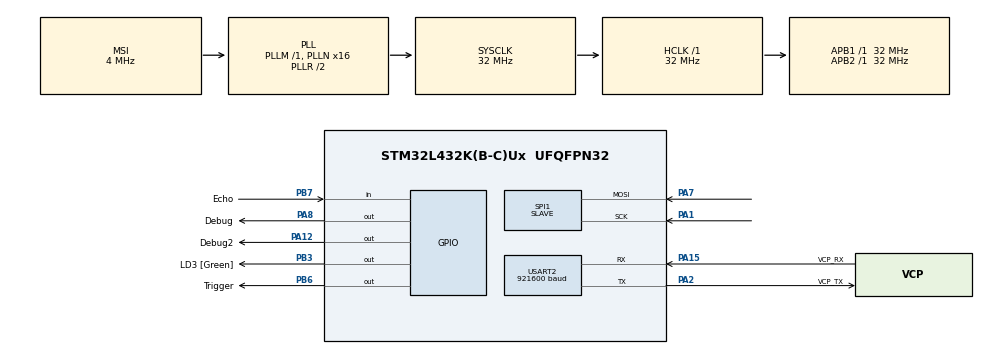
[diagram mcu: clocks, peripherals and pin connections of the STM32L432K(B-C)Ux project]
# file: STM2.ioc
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Dma.Request0=USART2_TX
Dma.USART2_TX.0.Direction=DMA_MEMORY_TO_PERIPH
Dma.USART2_TX.0.Instance=DMA1_Channel7
Dma.USART2_TX.0.MemDataAlignment=DMA_MDATAALIGN_BYTE
Dma.USART2_TX.0.MemInc=DMA_MINC_ENABLE
Dma.USART2_TX.0.Mode=DMA_NORMAL
Dma.USART2_TX.0.PeriphDataAlignment=DMA_PDATAALIGN_BYTE
Dma.USART2_TX.0.PeriphInc=DMA_PINC_DISABLE
Dma.USART2_TX.0.Priority=DMA_PRIORITY_LOW
Mcu.Family=STM32L4
Mcu.Name=STM32L432K(B-C)Ux
Mcu.Package=UFQFPN32
NVIC.DMA1_Channel7_IRQn=true\:0\:0\:false\:false\:true\:false\:true\:true
NVIC.PriorityGroup=NVIC_PRIORITYGROUP_4
NVIC.USART2_IRQn=true\:0\:0\:false\:false\:true\:true\:true\:true
PA0.GPIO_Label=MCO [High speed clock in]
PA0.Mode=HSE-External-Clock-Source-for-LittleOrca
PA0.Signal=RCC_CK_IN
PA1.Mode=RX_Only_Simplex_Unidirect_Slave
PA1.Signal=SPI1_SCK
PA12.GPIO_Label=Debug2
PA12.Signal=GPIO_Output
PA13\ (JTMS-SWDIO).GPIO_Label=SWDIO
PA13\ (JTMS-SWDIO).Mode=Serial_Wire
PA13\ (JTMS-SWDIO).Signal=SYS_JTMS-SWDIO
PA14\ (JTCK-SWCLK).GPIO_Label=SWCLK
PA14\ (JTCK-SWCLK).Mode=Serial_Wire
PA14\ (JTCK-SWCLK).Signal=SYS_JTCK-SWCLK
PA15\ (JTDI).GPIO_Label=VCP_RX
PA15\ (JTDI).Mode=Asynchronous
PA15\ (JTDI).Signal=USART2_RX
PA2.GPIO_Label=VCP_TX
PA2.Mode=Asynchronous
PA2.Signal=USART2_TX
PA7.Mode=RX_Only_Simplex_Unidirect_Slave
PA7.Signal=SPI1_MOSI
PA8.GPIO_Label=Debug
PA8.Signal=GPIO_Output
PB3\ (JTDO-TRACESWO).GPIO_Label=LD3 [Green]
PB3\ (JTDO-TRACESWO).Signal=GPIO_Output
PB6.GPIO_Label=Trigger
PB6.Signal=GPIO_Output
PB7.GPIO_Label=Echo
PB7.Signal=GPIO_Input
PC14-OSC32_IN\ (PC14).Mode=LSE-External-Oscillator
PC14-OSC32_IN\ (PC14).Signal=RCC_OSC32_IN
PC15-OSC32_OUT\ (PC15).Mode=LSE-External-Oscillator
PC15-OSC32_OUT\ (PC15).Signal=RCC_OSC32_OUT
ProjectManager.HeapSize=0x200
ProjectManager.StackSize=0x400
ProjectManager.TargetToolchain=STM32CubeIDE
RCC.AHBFreq_Value=32000000
RCC.APB1Freq_Value=32000000
RCC.APB1TimFreq_Value=32000000
RCC.APB2Freq_Value=32000000
RCC.APB2TimFreq_Value=32000000
RCC.CortexFreq_Value=32000000
RCC.HCLKFreq_Value=32000000
RCC.HSE_VALUE=8000000
RCC.HSI16_VALUE=16000000
RCC.HSI48_VALUE=48000000
RCC.HSI_VALUE=16000000
RCC.MSI_VALUE=4000000
RCC.PLLMUL=RCC_PLLMUL_4
RCC.PLLN=16
RCC.SYSCLKFreq_VALUE=32000000
RCC.SYSCLKSource=RCC_SYSCLKSOURCE_PLLCLK
RCC.VCOOutputFreq_Value=64000000
SPI1.DataSize=SPI_DATASIZE_16BIT
SPI1.Direction=SPI_DIRECTION_2LINES_RXONLY
SPI1.Mode=SPI_MODE_SLAVE
SPI1.VirtualType=VM_SLAVE
TIM16.Prescaler=31
USART2.BaudRate=921600
USART2.VirtualMode-Asynchronous=VM_ASYNC
VP_TIM16_VS_ClockSourceINT.Mode=Enable_Timer
board=NUCLEO-L432KC

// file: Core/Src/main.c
/* USER CODE BEGIN Header */
/**
  ******************************************************************************
  * @file           : main.c
  * @brief          : Main program body
  ******************************************************************************
  * @attention
  *
  * Copyright (c) 2026 STMicroelectronics.
  * All rights reserved.
  *
  * This software is licensed under terms that can be found in the LICENSE file
  * in the root directory of this software component.
  * If no LICENSE file comes with this software, it is provided AS-IS.
  *
  ******************************************************************************
  */
/* USER CODE END Header */
#include "main.h"

/* USER CODE BEGIN Includes */
#include "stdlib.h"
#include "stdio.h"
#include "string.h"
#include "stdbool.h"
#include "math.h"
/* USER CODE END Includes */

/* USER CODE BEGIN PD */
#define N 1 // number of samples to average
#define THRESHOLD 99999 // threshold for the average value
/* USER CODE END PD */

TIM_HandleTypeDef htim16;

UART_HandleTypeDef huart2;
DMA_HandleTypeDef hdma_usart2_tx;

void SystemClock_Config(void);
static void MX_GPIO_Init(void);
static void MX_DMA_Init(void);
static void MX_USART2_UART_Init(void);
static void MX_SPI1_Init(void);
static void MX_TIM16_Init(void);
/* USER CODE BEGIN PFP */
static uint16_t SPI1_Read12Bits(void);
/* USER CODE END PFP */

int main(void)
{

  /* MCU Configuration--------------------------------------------------------*/

  /* Reset of all peripherals, Initializes the Flash interface and the Systick. */
  HAL_Init();

  /* Configure the system clock */
  SystemClock_Config();

  /* Initialize all configured peripherals */
  MX_GPIO_Init();
  MX_DMA_Init();
  MX_USART2_UART_Init();
  MX_SPI1_Init();
  MX_TIM16_Init();
  /* USER CODE BEGIN 2 */
  LL_SPI_Enable(SPI1);

  uint16_t sample12;// 12 bit sample filtered by the moving window from the raw data
  uint16_t buffer[N];
  uint16_t mean; // mean of the sample10 in the last N samples
  uint16_t new_sample; // new sample from the raw data just to filter out the value greater than the threshold
  uint16_t sum;

  uint8_t flag; //control message received from pc
  double divider = 2 * pow(10, 4) / 343;
  float short_time = 10*divider;
  float long_time = 12*divider;
  int echo_time = 0;
  int index = 0;

  //logical flags
  bool manual = true; // True for Manual Mode, False for Distance Mode
  bool process = false; //do we choose to process data?
  bool idle = true; //Is the stm doing nothing (waiting for pc instruction)?

  bool waiting = true; //is the Ultrasonic Sensor in the cooloff period between readings?
  bool triggered = false; //Is the trigger pin high?
  bool echoed = false; //Is the echo pin high?
  /* USER CODE END 2 */

  /* Infinite loop */
  /* USER CODE BEGIN WHILE */
  HAL_TIM_Base_Start(&htim16);
  sample12 = SPI1_Read12Bits();
  // fill the buffer with the first N samples
  sum = 0;
  for(int i = 0; i < N; i++) {
      buffer[i] = sample12;
      sum = sum + sample12;
      //initialise the buffer to provide the initial sum for the mean calculation, so we fill the buffer with the first N samples with the sample10 value
  }
  while (1)
  {
		sample12 = SPI1_Read12Bits();
//	    char debug_msg[100];
//		sprintf(debug_msg,"%d\r\n",sample12);
//		HAL_UART_Transmit_DMA(&huart2,(uint8_t *)debug_msg,8);
//		continue;

//		state logic
	  //check for instruction from pc
		if (HAL_UART_Receive(&huart2, &flag, 1, 0) == HAL_OK){
			if (flag == (uint8_t)'m'){
				idle = false;
				manual = true;
			} else if (flag == (uint8_t)'d'){
				idle = false;
				manual = false;
			} else if (flag == (uint8_t)'i'){
				idle = true;
			}
		}

		if (idle){
			continue; //do nothing when in idle mode
		}
		if (manual){
			process = true; //we always process if were in manual mode
		} else {
//			HAL_GPIO_WritePin(Debug2_GPIO_Port,Debug2_Pin,1);

			//ultrasonic state logic
			if (waiting){
				if (__HAL_TIM_GET_COUNTER(&htim16)>50){ //wait 50ms
					HAL_GPIO_WritePin(Trigger_GPIO_Port,Trigger_Pin,1); //activate trigger pin
					__HAL_TIM_SET_COUNTER(&htim16,0);

					waiting = false;
					triggered = true; //move to next state
				}
			} else if (triggered){
				if (__HAL_TIM_GET_COUNTER(&htim16)>10){ //wait 10ms
					HAL_GPIO_WritePin(Trigger_GPIO_Port,Trigger_Pin,0);
					__HAL_TIM_SET_COUNTER(&htim16,0);

					echoed = true; //move to next state
					triggered = false;
				}
			} else if (echoed){
				//check how long echo is on for
				if (HAL_GPIO_ReadPin(Echo_GPIO_Port,Echo_Pin)==GPIO_PIN_SET){
					echo_time = __HAL_TIM_GET_COUNTER(&htim16);

				} else {
					__HAL_TIM_SET_COUNTER(&htim16,0);

					//only process if the distance detected is small enough
					if (echo_time <= short_time){
						process = true;
					} else if (echo_time > long_time){
						process = false;
					}

					echoed = false;
					waiting = true;
				}
			}
//			HAL_GPIO_WritePin(Debug2_GPIO_Port,Debug2_Pin,0);
		}

	  //processing logic
		if(process){
			mean = sum / N;

			  // this is outlier rejection
			 if (abs((int32_t)sample12 - (int32_t)mean) < THRESHOLD) {
				new_sample = sample12;
			 }
			 else{
				 new_sample = mean + (sample12 > mean ? 1 : -1) * THRESHOLD/2; // drift toward real value slowly
			 }

			 // update the buffer and the sum
			 sum -= buffer[index];
			 buffer[index] = new_sample;
			 sum += new_sample;
			 index = (index + 1) % N; // so the index will cycle through the buffer from 0 to N-1

				HAL_GPIO_WritePin(Debug2_GPIO_Port,Debug2_Pin,1);
			uint8_t sample8 = (uint8_t)mean;
			uint8_t sample8pt2 = (uint8_t)(mean >> 8);
			while (!(huart2.Instance->ISR & USART_ISR_TXE));
			huart2.Instance->TDR = sample8;
			while (!(huart2.Instance->ISR & USART_ISR_TXE));
			huart2.Instance->TDR = sample8pt2;
				HAL_GPIO_WritePin(Debug2_GPIO_Port,Debug2_Pin,0);
			 }

    /* USER CODE END WHILE */

  }
}

void SystemClock_Config(void)
{
  RCC_OscInitTypeDef RCC_OscInitStruct = {0};
  RCC_ClkInitTypeDef RCC_ClkInitStruct = {0};

  /** Configure the main internal regulator output voltage
  */
  if (HAL_PWREx_ControlVoltageScaling(PWR_REGULATOR_VOLTAGE_SCALE1) != HAL_OK)
  {
    Error_Handler();
  }

  /** Configure LSE Drive Capability
  */
  HAL_PWR_EnableBkUpAccess();
  __HAL_RCC_LSEDRIVE_CONFIG(RCC_LSEDRIVE_LOW);

  /** Initializes the RCC Oscillators according to the specified parameters
  * in the RCC_OscInitTypeDef structure.
  */
  RCC_OscInitStruct.OscillatorType = RCC_OSCILLATORTYPE_LSE|RCC_OSCILLATORTYPE_MSI;
  RCC_OscInitStruct.LSEState = RCC_LSE_ON;
  RCC_OscInitStruct.MSIState = RCC_MSI_ON;
  RCC_OscInitStruct.MSICalibrationValue = 0;
  RCC_OscInitStruct.MSIClockRange = RCC_MSIRANGE_6;
  RCC_OscInitStruct.PLL.PLLState = RCC_PLL_ON;
  RCC_OscInitStruct.PLL.PLLSource = RCC_PLLSOURCE_MSI;
  RCC_OscInitStruct.PLL.PLLM = 1;
  RCC_OscInitStruct.PLL.PLLN = 16;
  RCC_OscInitStruct.PLL.PLLP = RCC_PLLP_DIV7;
  RCC_OscInitStruct.PLL.PLLQ = RCC_PLLQ_DIV2;
  RCC_OscInitStruct.PLL.PLLR = RCC_PLLR_DIV2;
  if (HAL_RCC_OscConfig(&RCC_OscInitStruct) != HAL_OK)
  {
    Error_Handler();
  }

  /** Initializes the CPU, AHB and APB buses clocks
  */
  RCC_ClkInitStruct.ClockType = RCC_CLOCKTYPE_HCLK|RCC_CLOCKTYPE_SYSCLK
                              |RCC_CLOCKTYPE_PCLK1|RCC_CLOCKTYPE_PCLK2;
  RCC_ClkInitStruct.SYSCLKSource = RCC_SYSCLKSOURCE_PLLCLK;
  RCC_ClkInitStruct.AHBCLKDivider = RCC_SYSCLK_DIV1;
  RCC_ClkInitStruct.APB1CLKDivider = RCC_HCLK_DIV1;
  RCC_ClkInitStruct.APB2CLKDivider = RCC_HCLK_DIV1;

  if (HAL_RCC_ClockConfig(&RCC_ClkInitStruct, FLASH_LATENCY_1) != HAL_OK)
  {
    Error_Handler();
  }

  /** Enable MSI Auto calibration
  */
  HAL_RCCEx_EnableMSIPLLMode();
}

static void MX_SPI1_Init(void)
{

  LL_SPI_InitTypeDef SPI_InitStruct = {0};

  LL_GPIO_InitTypeDef GPIO_InitStruct = {0};

  /* Peripheral clock enable */
  LL_APB2_GRP1_EnableClock(LL_APB2_GRP1_PERIPH_SPI1);

  LL_AHB2_GRP1_EnableClock(LL_AHB2_GRP1_PERIPH_GPIOA);
  /**SPI1 GPIO Configuration
  PA1   ------> SPI1_SCK
  PA7   ------> SPI1_MOSI
  */
  GPIO_InitStruct.Pin = LL_GPIO_PIN_1|LL_GPIO_PIN_7;
  GPIO_InitStruct.Mode = LL_GPIO_MODE_ALTERNATE;
  GPIO_InitStruct.Speed = LL_GPIO_SPEED_FREQ_VERY_HIGH;
  GPIO_InitStruct.OutputType = LL_GPIO_OUTPUT_PUSHPULL;
  GPIO_InitStruct.Pull = LL_GPIO_PULL_NO;
  GPIO_InitStruct.Alternate = LL_GPIO_AF_5;
  LL_GPIO_Init(GPIOA, &GPIO_InitStruct);

  /* SPI1 parameter configuration*/
  SPI_InitStruct.TransferDirection = LL_SPI_SIMPLEX_RX;
  SPI_InitStruct.Mode = LL_SPI_MODE_SLAVE;
  SPI_InitStruct.DataWidth = LL_SPI_DATAWIDTH_16BIT;
  SPI_InitStruct.ClockPolarity = LL_SPI_POLARITY_LOW;
  SPI_InitStruct.ClockPhase = LL_SPI_PHASE_1EDGE;
  SPI_InitStruct.NSS = LL_SPI_NSS_SOFT;
  SPI_InitStruct.BitOrder = LL_SPI_MSB_FIRST;
  SPI_InitStruct.CRCCalculation = LL_SPI_CRCCALCULATION_DISABLE;
  SPI_InitStruct.CRCPoly = 7;
  LL_SPI_Init(SPI1, &SPI_InitStruct);
  LL_SPI_SetStandard(SPI1, LL_SPI_PROTOCOL_MOTOROLA);
  LL_SPI_DisableNSSPulseMgt(SPI1);

}

static void MX_TIM16_Init(void)
{

  htim16.Instance = TIM16;
  htim16.Init.Prescaler = 31;
  htim16.Init.CounterMode = TIM_COUNTERMODE_UP;
  htim16.Init.Period = 65535;
  htim16.Init.ClockDivision = TIM_CLOCKDIVISION_DIV1;
  htim16.Init.RepetitionCounter = 0;
  htim16.Init.AutoReloadPreload = TIM_AUTORELOAD_PRELOAD_DISABLE;
  if (HAL_TIM_Base_Init(&htim16) != HAL_OK)
  {
    Error_Handler();
  }

}

static void MX_USART2_UART_Init(void)
{

  huart2.Instance = USART2;
  huart2.Init.BaudRate = 921600;
  huart2.Init.WordLength = UART_WORDLENGTH_8B;
  huart2.Init.StopBits = UART_STOPBITS_1;
  huart2.Init.Parity = UART_PARITY_NONE;
  huart2.Init.Mode = UART_MODE_TX_RX;
  huart2.Init.HwFlowCtl = UART_HWCONTROL_NONE;
  huart2.Init.OverSampling = UART_OVERSAMPLING_16;
  huart2.Init.OneBitSampling = UART_ONE_BIT_SAMPLE_DISABLE;
  huart2.AdvancedInit.AdvFeatureInit = UART_ADVFEATURE_NO_INIT;
  if (HAL_UART_Init(&huart2) != HAL_OK)
  {
    Error_Handler();
  }

}

static void MX_DMA_Init(void)
{

  /* DMA controller clock enable */
  __HAL_RCC_DMA1_CLK_ENABLE();

  /* DMA interrupt init */
  /* DMA1_Channel7_IRQn interrupt configuration */
  HAL_NVIC_SetPriority(DMA1_Channel7_IRQn, 0, 0);
  HAL_NVIC_EnableIRQ(DMA1_Channel7_IRQn);

}

static void MX_GPIO_Init(void)
{
  GPIO_InitTypeDef GPIO_InitStruct = {0};

  /* GPIO Ports Clock Enable */
  __HAL_RCC_GPIOC_CLK_ENABLE();
  __HAL_RCC_GPIOA_CLK_ENABLE();
  __HAL_RCC_GPIOB_CLK_ENABLE();

  /*Configure GPIO pin Output Level */
  HAL_GPIO_WritePin(GPIOA, Debug_Pin|Debug2_Pin, GPIO_PIN_RESET);

  /*Configure GPIO pin Output Level */
  HAL_GPIO_WritePin(GPIOB, LD3_Pin|Trigger_Pin, GPIO_PIN_RESET);

  /*Configure GPIO pins : Debug_Pin Debug2_Pin */
  GPIO_InitStruct.Pin = Debug_Pin|Debug2_Pin;
  GPIO_InitStruct.Mode = GPIO_MODE_OUTPUT_PP;
  GPIO_InitStruct.Pull = GPIO_NOPULL;
  GPIO_InitStruct.Speed = GPIO_SPEED_FREQ_LOW;
  HAL_GPIO_Init(GPIOA, &GPIO_InitStruct);

  /*Configure GPIO pins : LD3_Pin Trigger_Pin */
  GPIO_InitStruct.Pin = LD3_Pin|Trigger_Pin;
  GPIO_InitStruct.Mode = GPIO_MODE_OUTPUT_PP;
  GPIO_InitStruct.Pull = GPIO_NOPULL;
  GPIO_InitStruct.Speed = GPIO_SPEED_FREQ_LOW;
  HAL_GPIO_Init(GPIOB, &GPIO_InitStruct);

  /*Configure GPIO pin : Echo_Pin */
  GPIO_InitStruct.Pin = Echo_Pin;
  GPIO_InitStruct.Mode = GPIO_MODE_INPUT;
  GPIO_InitStruct.Pull = GPIO_NOPULL;
  HAL_GPIO_Init(Echo_GPIO_Port, &GPIO_InitStruct);

}

/* USER CODE BEGIN 4 */
static uint16_t SPI1_Read12Bits(void){
	static uint16_t last_good_msg = 2048;
    while (!LL_SPI_IsActiveFlag_RXNE(SPI1));  // wait for data to be ready
    uint16_t msg =  LL_SPI_ReceiveData16(SPI1);
    if (msg & 0xF000){ //in a 12 bit message the upper 4 bytes should be empty
    	//error handling
    	HAL_GPIO_TogglePin(LD3_GPIO_Port,LD3_Pin); //signal there is an error
    	LL_SPI_Disable(SPI1); // begin reset
    	LL_APB2_GRP1_ForceReset(LL_APB2_GRP1_PERIPH_SPI1);
    	LL_APB2_GRP1_ReleaseReset(LL_APB2_GRP1_PERIPH_SPI1);
		MX_SPI1_Init();
		LL_SPI_Enable(SPI1); //finish reset
    	msg = last_good_msg; //keep track of the last good message, just so that were not sending garbage
    } else {
    	last_good_msg = msg;
    }
    return msg & 0x0FFF;
}
/* USER CODE END 4 */

void Error_Handler(void)
{
  __disable_irq();
  while (1)
  {
  }
}
